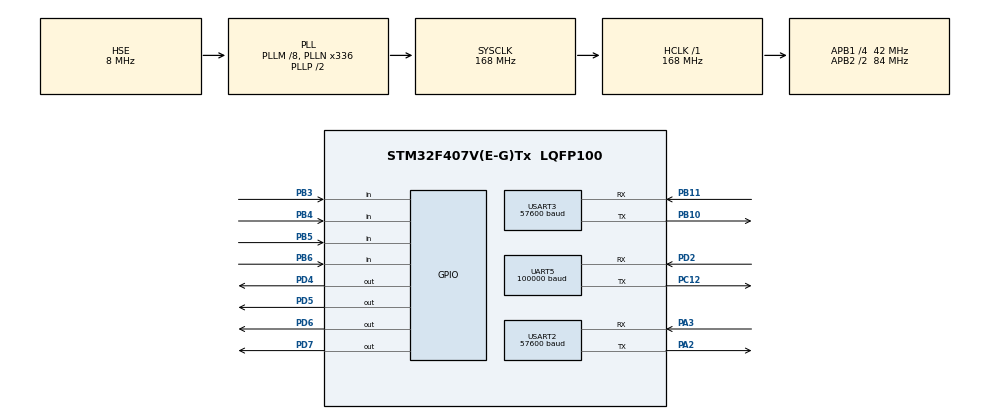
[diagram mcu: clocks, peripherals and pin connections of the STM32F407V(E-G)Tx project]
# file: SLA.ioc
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Mcu.Family=STM32F4
RCC.PLLSourceVirtual=RCC_PLLSOURCE_HSE
PC15-OSC32_OUT.Mode=LSE-External-Oscillator
PH0-OSC_IN.Signal=RCC_OSC_IN
RCC.CortexFreq_Value=168000000
PB10.Mode=Asynchronous
PC12.Signal=UART5_TX
UART5.Parity=PARITY_EVEN
PB6.GPIO_PuPd=GPIO_PULLUP
PD7.Signal=GPIO_Output
PD5.Signal=GPIO_Output
UART5.VirtualMode=Asynchronous
RCC.APB1CLKDivider=RCC_HCLK_DIV4
PC14-OSC32_IN.Signal=RCC_OSC32_IN
PB11.Signal=USART3_RX
NVIC.USART2_IRQn=true\:0\:0\:false\:false\:true\:true\:true
USART2.BaudRate=57600
RCC.SYSCLKSource=RCC_SYSCLKSOURCE_PLLCLK
ProjectManager.StackSize=0x400
PA13.Signal=SYS_JTMS-SWDIO
PA3.Mode=Asynchronous
PD4.PinState=GPIO_PIN_RESET
UART5.StopBits=UART_STOPBITS_2
USART3.BaudRate=57600
PB11.Mode=Asynchronous
ProjectManager.TargetToolchain=MDK-ARM V5.27
RCC.HCLKFreq_Value=168000000
PD4.Signal=GPIO_Output
RCC.APB2TimFreq_Value=168000000
PB6.Signal=GPIO_Input
PB4.GPIO_PuPd=GPIO_PULLUP
PC15-OSC32_OUT.Signal=RCC_OSC32_OUT
RCC.AHBFreq_Value=168000000
PH0-OSC_IN.Mode=HSE-External-Oscillator
PB10.Signal=USART3_TX
PD2.Mode=Asynchronous
RCC.HSE_VALUE=8000000
PC12.Mode=Asynchronous
board=custom
RCC.VCOOutputFreq_Value=336000000
RCC.APB2Freq_Value=84000000
PB3.GPIO_PuPd=GPIO_PULLUP
PC14-OSC32_IN.Mode=LSE-External-Oscillator
PA14.Mode=Serial_Wire
PH1-OSC_OUT.Signal=RCC_OSC_OUT
USART3.StopBits=STOPBITS_1
PA13.Mode=Serial_Wire
Mcu.Name=STM32F407V(E-G)Tx
PA2.Signal=USART2_TX
PH1-OSC_OUT.Mode=HSE-External-Oscillator
RCC.48MHZClocksFreq_Value=84000000
PB3.Signal=GPIO_Input
RCC.SYSCLKFreq_VALUE=168000000
Mcu.Package=LQFP100
PB5.Signal=GPIO_Input
USART2.VirtualMode=VM_ASYNC
USART3.VirtualMode=VM_ASYNC
PB5.GPIO_PuPd=GPIO_PULLUP
PA14.Signal=SYS_JTCK-SWCLK
ProjectManager.HeapSize=0x200
RCC.HSI_VALUE=16000000
NVIC.PriorityGroup=NVIC_PRIORITYGROUP_4
RCC.APB2CLKDivider=RCC_HCLK_DIV2
RCC.PLLM=8
RCC.PLLN=336
RCC.APB1TimFreq_Value=84000000
PA2.Mode=Asynchronous
UART5.BaudRate=100000
PD2.Signal=UART5_RX
PD6.Signal=GPIO_Output
RCC.APB1Freq_Value=42000000
PB4.Signal=GPIO_Input
PA3.Signal=USART2_RX
USART3.Parity=PARITY_NONE

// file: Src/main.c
/* USER CODE BEGIN Header */
/**
******************************************************************************
* @file           : main.c
* @brief          : Main program body
******************************************************************************
* @attention
*
* <h2><center>&copy; Copyright (c) 2020 STMicroelectronics.
* All rights reserved.</center></h2>
*
* This software component is licensed by ST under BSD 3-Clause license,
* the "License"; You may not use this file except in compliance with the
* License. You may obtain a copy of the License at:
*                        opensource.org/licenses/BSD-3-Clause
*
******************************************************************************
*/
/* USER CODE END Header */
#include "main.h"

/* USER CODE BEGIN Includes */
#include "tracking.h"
#include "keyboard.h"
/* USER CODE END Includes */

UART_HandleTypeDef huart5;
UART_HandleTypeDef huart2;
UART_HandleTypeDef huart3;

void SystemClock_Config(void);
static void MX_GPIO_Init(void);
static void MX_USART2_UART_Init(void);
static void MX_USART3_UART_Init(void);
static void MX_UART5_Init(void);
/* USER CODE BEGIN PFP */

#define PUTCHAR_PROTOTYPE int fputc(int s, FILE *f)
PUTCHAR_PROTOTYPE
{
    HAL_UART_Transmit(&huart3, (uint8_t*)&s,1,10);
    return s;
}

/* USER CODE END PFP */

/* USER CODE BEGIN 0 */
int state = 0;
int count = 0;
uint8_t buffer[256];
uint8_t a[512];
uint8_t data = 0;
uint8_t old_data = 0;
uint8_t new_data = 0;
int len = 0;
int package_complete = 0;
uint8_t mode=0;

#define MAX 1024
uint8_t cqueue_arr[MAX];
int front = -1;
int rear  = -1;

uint8_t keyIdxPress[6];

uint8_t isEmpty()
{
    if (front == -1)
       return 1;
    else
       return 0;
}/*End of isEmpty()*/

uint8_t isFull()
{
	if ((front == 0 && rear == MAX - 1) || (front == rear + 1))
		return 1;
	else
		return 0;
}/*End of isFull()*/

uint8_t del()
{
    uint8_t item;
    if( isEmpty() )
    {
        printf("\nQueue Underflow\n");
    }
    item = cqueue_arr[front];
    if(front == rear) /* queue has only one element */
    {
        front = -1;
        rear  = -1;
    }
    else if(front==MAX-1)
        front = 0;
    else
        front = front+1;
    return item;
}/*End of del()*/

void insert(uint8_t item)
{
	if (isFull())
	{
        //del();
        //printf("\nQueue Overflow\n");
        return;
	}
	if (front == -1)
		front = 0;

	if (rear == MAX - 1)/*rear is at last position of queue*/
		rear = 0;
	else
		rear = rear + 1;
	cqueue_arr[rear] = item;
}/*End of insert()*/

void HAL_UART_RxCpltCallback(UART_HandleTypeDef *huart)
{
    if (huart->Instance == USART2)
    {
        insert(data);
        HAL_UART_Receive_IT(&huart2,&data, 1);

    }
}
void printHex(uint8_t* a, int len)
{
    int i = 0;
    while (len - i)
    {
        printf("%x ", a[i]);
        i++;
    }
    printf("\n");
}
void SBUS_write(uint16_t* channels)
{
    static uint8_t packet[25];
    /* assemble the SBUS packet */
    // SBUS header
    packet[0] = _sbusHeader;
    // 16 channels of 11 bit data
    if (channels) {
        packet[1] = (uint8_t) ((channels[0] & 0x07FF));
        packet[2] = (uint8_t) ((channels[0] & 0x07FF)>>8 | (channels[1] & 0x07FF)<<3);
        packet[3] = (uint8_t) ((channels[1] & 0x07FF)>>5 | (channels[2] & 0x07FF)<<6);
        packet[4] = (uint8_t) ((channels[2] & 0x07FF)>>2);
        packet[5] = (uint8_t) ((channels[2] & 0x07FF)>>10 | (channels[3] & 0x07FF)<<1);
        packet[6] = (uint8_t) ((channels[3] & 0x07FF)>>7 | (channels[4] & 0x07FF)<<4);
        packet[7] = (uint8_t) ((channels[4] & 0x07FF)>>4 | (channels[5] & 0x07FF)<<7);
        packet[8] = (uint8_t) ((channels[5] & 0x07FF)>>1);
        packet[9] = (uint8_t) ((channels[5] & 0x07FF)>>9 | (channels[6] & 0x07FF)<<2);
        packet[10] = (uint8_t) ((channels[6] & 0x07FF)>>6 | (channels[7] & 0x07FF)<<5);
        packet[11] = (uint8_t) ((channels[7] & 0x07FF)>>3);
        packet[12] = (uint8_t) ((channels[8] & 0x07FF));
        packet[13] = (uint8_t) ((channels[8] & 0x07FF)>>8 | (channels[9] & 0x07FF)<<3);
        packet[14] = (uint8_t) ((channels[9] & 0x07FF)>>5 | (channels[10] & 0x07FF)<<6);
        packet[15] = (uint8_t) ((channels[10] & 0x07FF)>>2);
        packet[16] = (uint8_t) ((channels[10] & 0x07FF)>>10 | (channels[11] & 0x07FF)<<1);
        packet[17] = (uint8_t) ((channels[11] & 0x07FF)>>7 | (channels[12] & 0x07FF)<<4);
        packet[18] = (uint8_t) ((channels[12] & 0x07FF)>>4 | (channels[13] & 0x07FF)<<7);
        packet[19] = (uint8_t) ((channels[13] & 0x07FF)>>1);
        packet[20] = (uint8_t) ((channels[13] & 0x07FF)>>9 | (channels[14] & 0x07FF)<<2);
        packet[21] = (uint8_t) ((channels[14] & 0x07FF)>>6 | (channels[15] & 0x07FF)<<5);
        packet[22] = (uint8_t) ((channels[15] & 0x07FF)>>3);
    }
    // flags
    packet[23] = 0x00;
    // footer
    packet[24] = _sbusFooter;
    // write packet
    HAL_UART_Transmit(&huart5,packet,25,100);
    //_bus->write(packet,25);
}

/*static SLStatus getAllFromSla()
{
	s32 sleepMs = 30;

// Request state from SLA
u8 buf[80];
s32 len;
//	s32 cameraIndex = 2;
// Get the version information
	len = SLFIPGetVersionNumber(buf);  HAL_UART_Transmit(&huart2,buf, len,10);  HAL_Delay(sleepMs);
	len = SLFIPGetImageSize(buf,2);
	HAL_UART_Transmit(&huart2,buf, len,10);
	HAL_Delay(sleepMs);
	len = SLFIPGetOverlayMode(buf);
	HAL_UART_Transmit(&huart2,buf, len,10);
	HAL_Delay(sleepMs);
	len = SLFIGetCurrentOverlayObject(buf);  HAL_UART_Transmit(&huart2,buf, len,10);  HAL_Delay(sleepMs);
	printf("OK");
	 // Reset parameters
//len = SLFIPResetAllParameters(buf, 0);  HAL_UART_Transmit(&huart2,buf, len,10);  HAL_Delay(sleepMs);
HAL_Delay(100);
return SLA_SUCCESS;
}
*/
/* write SBUS packets */

//*
uint8_t IsStateKB(u8 key)
{
    for(uint8_t idx = 0; idx < 6; idx++)
    {
        if(keyIdxPress[idx] == key) return 1;
    }
    return 0;
}

void stopGymbal(void)
{
    uint16_t channels[16] = {1023, 1023, 1024, 1024, 1024, 1024, 1024, 1024, 1024, 1024, 1024, 1024, 1024, 1024, 1024};
    SBUS_write(&channels[0]);
}

void zoomInGymbal(void)
{
    uint16_t channels[16] = {1023, 1023, 1024, 1700, 1024, 1024, 1024, 1024, 1024, 1024, 1024, 1024, 1024, 1024, 1024};
    SBUS_write(&channels[0]);
}

void zoomOutGymbal(void)
{
    uint16_t channels[16] = {1023, 1023, 1024, 600, 1024, 1024, 1024, 1024, 1024, 1024, 1024, 1024, 1024, 1024, 1024};
    SBUS_write(&channels[0]);
}
/* USER CODE END 0 */

int main(void)
{
    /* USER CODE BEGIN 1 */
    u8 packet[25];
    GCPid PID;
    /* USER CODE END 1 */

    /* MCU Configuration--------------------------------------------------------*/

    /* Reset of all peripherals, Initializes the Flash interface and the Systick. */
    HAL_Init();

    /* USER CODE BEGIN Init */
    GcInitState (&PID);
    s32 numTracks = 0;
    u8 stateKB = 0;
    SLFIPTrackRes tracks[6];

    uint16_t channels[16] = {1023, 1023, 1024, 1024, 1024, 1024, 1024, 1024, 1024, 1024, 1024, 1024, 1024, 1024, 1024};
    //channels[3] = 500;
    SBUS_write(&channels[0]);
    //HAL_Delay(100);
    //channels[3] = 1700;

    SBUS_write(&channels[0]);
    /* USER CODE END Init */

    /* Configure the system clock */
    SystemClock_Config();

    /* Initialize all configured peripherals */
    MX_GPIO_Init();
    MX_USART2_UART_Init();
    MX_USART3_UART_Init();
    MX_UART5_Init();
    /* USER CODE BEGIN 2 */
    HAL_UART_Receive_IT(&huart2,&data, 1);
        //printf("\nok");
    /* USER CODE END 2 */

    /* Infinite loop */
    /* USER CODE BEGIN WHILE */
    //printf("\nHELLO\n");
    //getAllFromSla();
    //int old=0;
    while (1)
    {
        channels[0]=1023;
        channels[1]=1023;

        while(isEmpty()==0)
        {
            if (KeyPressed())
            {
                //printf("\n pressed");
                switch (KeyCode())
                {
                    case 12:
                        //printf("\n no.12");
                        zoomInGymbal();
                        break;
                    case 14:
                        //printf("\n no.14");
                        zoomOutGymbal();
                        break;
                    case 6:
                        mode = 1;
                        break;
                    case 10:
                        mode = 2;
                        stateKB = 0;
                        break;
                    default:
                        stateKB = 0;
                        break;
                }
            }

            old_data = new_data;
            new_data = del();

            if (old_data == 0x51 && new_data == 0xAC)
            {
                memset(buffer, 0, 256);
                state = 2;
                count = 2;
                buffer[0] = old_data;
                buffer[1] = new_data;
            }
            else if (state == 2 )
            {
                len = new_data;
                state = 3;
                count = 3;
                buffer[2] = new_data;
            }
            else if (count >= 3)
            {
                count++;
                buffer[count - 1] = new_data;
                //u8 buf1[]= {0x51,0xAC,0x13,0x4E,0x80,0x07,0x38,0x04,0x80,0x07,0x38,0x04,0x00,0x00,0x00,0x00,0x80,0x07,0x38,0x04,0x02,0x4E};
                if (count == len + 3)
                {
                    package_complete = 1;
                    //printHex(buffer, len + 3);
                    switch(mode){
                        case 1:
                            if(buffer[3]==0x43)
                            {
                                cbTrackingPosition(buffer, &PID, channels);
                                channels[3] = 1023;
                                SBUS_write(&channels[0]);
                            }
                            break;
                        case 2:
                            if (buffer[3] == 0x51)
                            {
                                numTracks=0;
                                //	printf("\n numtrack: %d", numTracks);
                                mycbTrackPositions(tracks, buffer, &numTracks, keyIdxPress); // keyIdxPress[1,3,5]
                                //	printf("\n numtrack: %d", numTracks);
                                if( KeyPressed())
                                {
                                    //printf("\n pressed");
                                    switch (KeyCode())
                                    {
                                        case 0:
                                         //   printf("\n no.1");
                                            stateKB = 1;
                                            break;
                                        case 1:
                                         //   printf("\n no.2");
                                            stateKB = 2;
                                            break;
                                        case 2:
                                         //   printf("\n no.3");
                                            stateKB = 3;
                                            break;
                                        case 4:
                                         //   printf("\n no.4");
                                            stateKB = 4;
                                            break;
                                        case 5:
                                           // printf("\n no.5");
                                            stateKB = 5;
                                            break;
                                        case 12:
                                            //printf("\n no.12");
                                            zoomInGymbal();
                                            break;
                                        case 13:
                                            stateKB=0;
                                            break;
                                        case 14:
                                            //printf("\n no.14");
                                            zoomOutGymbal();
                                            break;
                                        default:
                                           // stateKB = 0;
                                            break;
                                   }// end switch
                                }
                                else
                                {
                                   stopGymbal();
                                }

                                if(numTracks > 0)
                                {
                                    switch (stateKB)
                                    {
                                        case 0:
                                            break;
                                        case 1:
                                            if(IsStateKB(1))
                                            {
                                                TrackingControl(tracks[1], &PID, channels);
                                                SBUS_write(&channels[0]);
                                            }
                                            break;
                                        case 2:
                                            if(IsStateKB(2))
                                            {
                                                TrackingControl(tracks[2], &PID, channels);
                                                SBUS_write(&channels[0]);
                                            }
                                            break;
                                        case 3:
                                            if(IsStateKB(3))
                                            {
                                                TrackingControl(tracks[3], &PID, channels);
                                                SBUS_write(&channels[0]);
                                            }
                                            break;
                                        case 4:
                                            if(IsStateKB(4))
                                            {
                                                TrackingControl(tracks[4], &PID, channels);
                                                SBUS_write(&channels[0]);
                                            }
                                            break;
                                        case 5:
                                            if(IsStateKB(5))
                                            {
                                                TrackingControl(tracks[5], &PID, channels);
                                                SBUS_write(&channels[0]);
                                            }
                                            break;
                                        default:
                                            stopGymbal();
                                    }// end switch
                                }
                                else
                                {
                                    stateKB = 0;
                                    stopGymbal();
                                }
                            } // end if (buffer[3]==0x51)
                            break;
                   default:
                       break;
                 }// end switch
                    state = 0;
                    count = 0;
                    len = 0;
                }
            }// end else if (count >= 3)
        }// end while(isEmpty()==0)
    }// end while
}
/* USER CODE END 3 */
void SystemClock_Config(void)
{
    RCC_OscInitTypeDef RCC_OscInitStruct = {0};
    RCC_ClkInitTypeDef RCC_ClkInitStruct = {0};

    /** Configure the main internal regulator output voltage
    */
    __HAL_RCC_PWR_CLK_ENABLE();
    __HAL_PWR_VOLTAGESCALING_CONFIG(PWR_REGULATOR_VOLTAGE_SCALE1);
    /** Initializes the RCC Oscillators according to the specified parameters
    * in the RCC_OscInitTypeDef structure.
    */
    RCC_OscInitStruct.OscillatorType = RCC_OSCILLATORTYPE_HSE;
    RCC_OscInitStruct.HSEState = RCC_HSE_ON;
    RCC_OscInitStruct.PLL.PLLState = RCC_PLL_ON;
    RCC_OscInitStruct.PLL.PLLSource = RCC_PLLSOURCE_HSE;
    RCC_OscInitStruct.PLL.PLLM = 8;
    RCC_OscInitStruct.PLL.PLLN = 336;
    RCC_OscInitStruct.PLL.PLLP = RCC_PLLP_DIV2;
    RCC_OscInitStruct.PLL.PLLQ = 4;
    if (HAL_RCC_OscConfig(&RCC_OscInitStruct) != HAL_OK)
    {
        Error_Handler();
    }
    /** Initializes the CPU, AHB and APB buses clocks
    */
    RCC_ClkInitStruct.ClockType = RCC_CLOCKTYPE_HCLK|RCC_CLOCKTYPE_SYSCLK
                                                            |RCC_CLOCKTYPE_PCLK1|RCC_CLOCKTYPE_PCLK2;
    RCC_ClkInitStruct.SYSCLKSource = RCC_SYSCLKSOURCE_PLLCLK;
    RCC_ClkInitStruct.AHBCLKDivider = RCC_SYSCLK_DIV1;
    RCC_ClkInitStruct.APB1CLKDivider = RCC_HCLK_DIV4;
    RCC_ClkInitStruct.APB2CLKDivider = RCC_HCLK_DIV2;

    if (HAL_RCC_ClockConfig(&RCC_ClkInitStruct, FLASH_LATENCY_5) != HAL_OK)
    {
        Error_Handler();
    }
}

static void MX_UART5_Init(void)
{

huart5.Instance = UART5;
huart5.Init.BaudRate = 100000;
huart5.Init.WordLength = UART_WORDLENGTH_8B;
huart5.Init.StopBits = UART_STOPBITS_2;
huart5.Init.Parity = UART_PARITY_EVEN;
huart5.Init.Mode = UART_MODE_TX_RX;
huart5.Init.HwFlowCtl = UART_HWCONTROL_NONE;
huart5.Init.OverSampling = UART_OVERSAMPLING_16;
if (HAL_UART_Init(&huart5) != HAL_OK)
{
	Error_Handler();
}

}

static void MX_USART2_UART_Init(void)
{

huart2.Instance = USART2;
huart2.Init.BaudRate = 57600;
huart2.Init.WordLength = UART_WORDLENGTH_8B;
huart2.Init.StopBits = UART_STOPBITS_1;
huart2.Init.Parity = UART_PARITY_NONE;
huart2.Init.Mode = UART_MODE_TX_RX;
huart2.Init.HwFlowCtl = UART_HWCONTROL_NONE;
huart2.Init.OverSampling = UART_OVERSAMPLING_16;
if (HAL_UART_Init(&huart2) != HAL_OK)
{
	Error_Handler();
}

}

static void MX_USART3_UART_Init(void)
{

huart3.Instance = USART3;
huart3.Init.BaudRate = 57600;
huart3.Init.WordLength = UART_WORDLENGTH_8B;
huart3.Init.StopBits = UART_STOPBITS_1;
huart3.Init.Parity = UART_PARITY_NONE;
huart3.Init.Mode = UART_MODE_TX_RX;
huart3.Init.HwFlowCtl = UART_HWCONTROL_NONE;
huart3.Init.OverSampling = UART_OVERSAMPLING_16;
if (HAL_UART_Init(&huart3) != HAL_OK)
{
	Error_Handler();
}

}

static void MX_GPIO_Init(void)
{
GPIO_InitTypeDef GPIO_InitStruct = {0};

/* GPIO Ports Clock Enable */
__HAL_RCC_GPIOC_CLK_ENABLE();
__HAL_RCC_GPIOH_CLK_ENABLE();
__HAL_RCC_GPIOA_CLK_ENABLE();
__HAL_RCC_GPIOB_CLK_ENABLE();
__HAL_RCC_GPIOD_CLK_ENABLE();

/*Configure GPIO pin Output Level */
HAL_GPIO_WritePin(GPIOD, GPIO_PIN_4|GPIO_PIN_5|GPIO_PIN_6|GPIO_PIN_7, GPIO_PIN_RESET);

/*Configure GPIO pins : PD4 PD5 PD6 PD7 */
GPIO_InitStruct.Pin = GPIO_PIN_4|GPIO_PIN_5|GPIO_PIN_6|GPIO_PIN_7;
GPIO_InitStruct.Mode = GPIO_MODE_OUTPUT_PP;
GPIO_InitStruct.Pull = GPIO_NOPULL;
GPIO_InitStruct.Speed = GPIO_SPEED_FREQ_LOW;
HAL_GPIO_Init(GPIOD, &GPIO_InitStruct);

/*Configure GPIO pins : PB3 PB4 PB5 PB6 */
GPIO_InitStruct.Pin = GPIO_PIN_3|GPIO_PIN_4|GPIO_PIN_5|GPIO_PIN_6;
GPIO_InitStruct.Mode = GPIO_MODE_INPUT;
GPIO_InitStruct.Pull = GPIO_PULLUP;
HAL_GPIO_Init(GPIOB, &GPIO_InitStruct);

}

void Error_Handler(void)
{
    __disable_irq();
    while (1)
    {
    }
}

/************************ (C) COPYRIGHT STMicroelectronics *****END OF FILE****/
